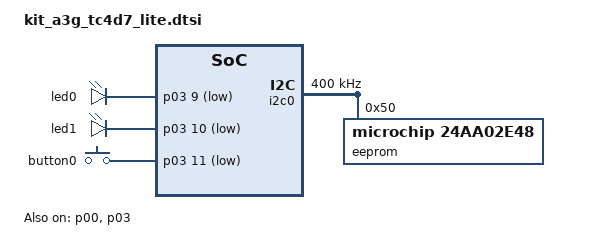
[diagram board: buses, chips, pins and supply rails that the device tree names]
/* Copyright (c) 2025 Infineon Technologies AG
 *
 * SPDX-License-Identifier: Apache-2.0
 */

#include "kit_a3g_tc4d7_lite-pinctrl.dtsi"
#include <zephyr/dt-bindings/i2c/i2c.h>

/ {
	leds: leds {
		compatible = "gpio-leds";
		led0: led_0 {
			gpios = <&p03 9 GPIO_ACTIVE_LOW>;
		};
		led1: led_1 {
			gpios = <&p03 10 GPIO_ACTIVE_LOW>;
		};
	};

	buttons: buttons {
		compatible = "gpio-keys";
		button0: button_0 {
			gpios = <&p03 11 GPIO_ACTIVE_LOW>;
		};
	};

	aliases {
		led0 = &led0;
		led1 = &led1;
		sw0 = &button0;
	};
};

&i2c0 {
        status = "okay";
        pinctrl-0 = <&eeprom_i2c>;
        pinctrl-names = "default";
        clock-frequency = <I2C_BITRATE_FAST>;

        eeprom: eeprom@50 {
                compatible = "microchip,24aa02e48", "atmel,at24";
                reg = <0x50>;
                size = <256>;
                pagesize = <8>;
                address-width = <8>;
                timeout = <5>;
                read-only;
        };
};

&p00 {
	status = "okay";
};

&p03 {
	status = "okay";
};

&asclin0 {
	compatible = "infineon,asclin-uart";
	pinctrl-0 = <&uart0_default>;
	pinctrl-names = "default";
};

&fosc {
	clock-frequency = <DT_FREQ_M(25)>;
	status = "okay";
};

&sys_pll {
	p-div = <1>;
	n-div = <20>;
};

&per_pll {
	p-div = <1>;
	n-div = <32>;
};

&fpll0 {
	k-div = <1>;
	k-pre-div = "1.0";
};

&fpll1 {
	k-div = <5>;
	k-pre-div = "1.0";
};

&fpll2 {
	k-div = <2>;
	k-pre-div = "2.0";
};

&fpll3 {
	k-div = <1>;
	k-pre-div = "2.0";
};

&fpllppu {
	k-div = <1>;
	k-pre-div = "1.1";
};
